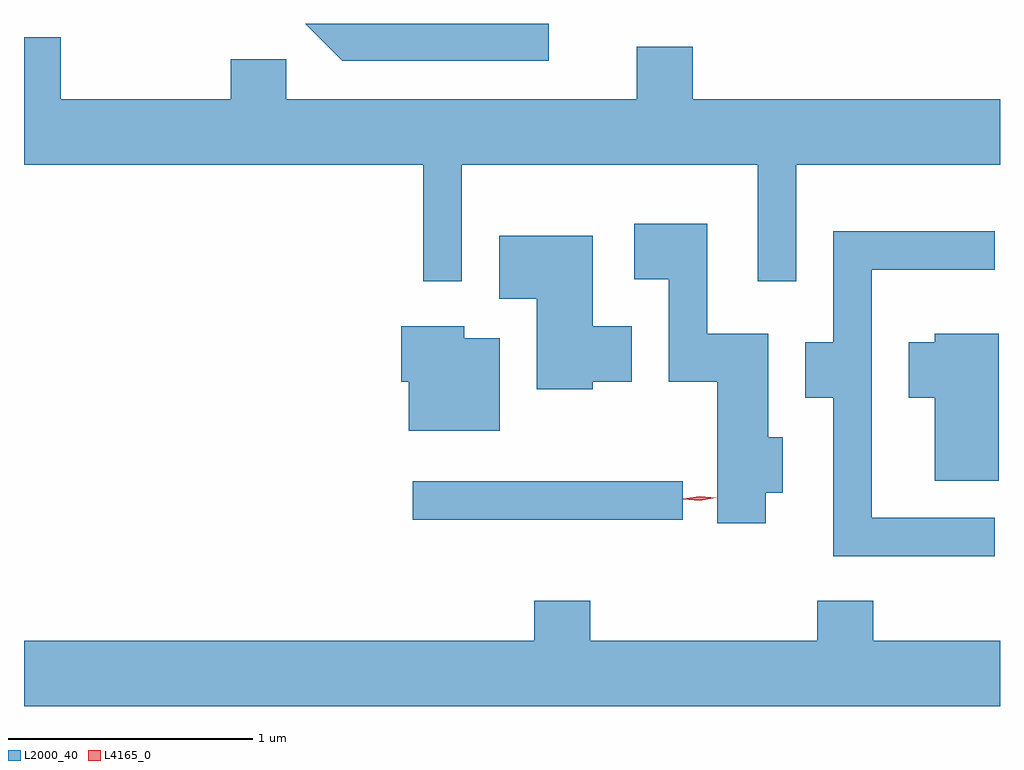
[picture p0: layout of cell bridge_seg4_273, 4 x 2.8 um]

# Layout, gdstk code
import gdstk
lib = gdstk.Library(unit=1e-6, precision=1e-09)
def R(c, l, rs):  # rectangles x0, y0, x1, y1
    for r in rs: c.add(gdstk.rectangle(r[:2], r[2:], *l))
def P(c, l, *ps):  # polygons
    for p in ps: c.add(gdstk.Polygon(p, *l))
L2000_40 = (2000, 40)
L4165_0 = (4165, 0)

bridge_seg4_273 = lib.new_cell('bridge_seg4_273')
R(bridge_seg4_273, L2000_40, [(543.133,1346.561,544.238,1346.719)])
P(bridge_seg4_273, L2000_40, [(543.689,1348.594),(542.691,1348.594),(542.844,1348.441),(543.689,1348.441)],
  [(543.334,1348.016),(544.546,1348.016),(544.546,1347.538),(544.704,1347.538),(544.704,1348.016),(545.539,1348.016),(545.539,1348.284),(544.279,1348.284),(544.279,1348.499),(544.051,1348.499),(544.051,1348.284),(542.614,1348.284),(542.614,1348.449),(542.386,1348.449),(542.386,1348.284),(541.689,1348.284),(541.689,1348.539),(541.539,1348.539),(541.539,1348.016),(543.176,1348.016),(543.176,1347.538),(543.334,1347.538)],
  [(544.579,1346.671),(544.649,1346.671),(544.649,1346.899),(544.589,1346.899),(544.589,1347.324),(544.339,1347.324),(544.339,1347.774),(544.041,1347.774),(544.041,1347.546),(544.181,1347.546),(544.181,1347.126),(544.381,1347.126),(544.381,1346.546),(544.579,1346.546)],
  [(545.518,1346.569),(545.014,1346.569),(545.014,1347.586),(545.518,1347.586),(545.518,1347.744),(544.856,1347.744),(544.856,1347.289),(544.741,1347.289),(544.741,1347.061),(544.856,1347.061),(544.856,1346.411),(545.518,1346.411)],
  [(543.869,1347.126),(544.029,1347.126),(544.029,1347.354),(543.869,1347.354),(543.869,1347.724),(543.486,1347.724),(543.486,1347.466),(543.641,1347.466),(543.641,1347.096),(543.869,1347.096)],
  [(543.489,1347.304),(543.344,1347.304),(543.344,1347.354),(543.086,1347.354),(543.086,1347.126),(543.116,1347.126),(543.116,1346.926),(543.489,1346.926)],
  [(545.534,1347.324),(545.271,1347.324),(545.271,1347.289),(545.166,1347.289),(545.166,1347.061),(545.271,1347.061),(545.271,1346.721),(545.534,1346.721)],
  [(545.539,1346.064),(545.019,1346.064),(545.019,1346.229),(544.791,1346.229),(544.791,1346.064),(543.859,1346.064),(543.859,1346.229),(543.631,1346.229),(543.631,1346.064),(541.539,1346.064),(541.539,1345.796),(545.539,1345.796)])
P(bridge_seg4_273, L4165_0, [(544.309,1346.638),(544.24,1346.644),(544.24,1346.645),(544.24,1346.646),(544.308,1346.657),(544.377,1346.651),(544.377,1346.65),(544.377,1346.65)])

lib.write_gds('bridge_seg4_273.gds')
